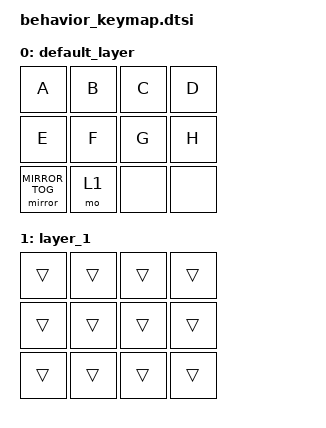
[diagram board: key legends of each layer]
#include <dt-bindings/zmk/keys.h>
#include <dt-bindings/zmk/mirror.h>
#include <behaviors.dtsi>
#include <dt-bindings/zmk/kscan_mock.h>

/*
 * Fork: mirror mode `combo-pairs` (PATCH_MIRROR_MODE.md §3.4).
 *
 *  pos  0  1  2  3     A B C D            map: rows 0-1 reflected (0<->3, 1<->2, 4<->7, 5<->6)
 *       4  5  6  7     E F G H                 row 2 maps to itself
 *       8  9 10 11     mirror TOG, &mo 1 (layer 1 not listed in the mirror)
 *
 * Combos: {0,1} -> [ (opener), {1,2} -> ] (closer), paired; {0,1,2} -> Z, not paired. While
 * mirrored, the right-hand twins of [ give ], and the other way round.
 */
&kscan {
    rows = <3>;
    columns = <4>;
};

/ {
    behaviors {
        mirror: mirror {
            compatible = "zmk,behavior-mirror";
            #binding-cells = <1>;
            mirror-positions = <3 2 1 0  7 6 5 4  8 9 10 11>;
            base {
                layers = <0>;
                combo-pairs = <0 1 MIRROR_WITH 1 2>;
            };
        };
    };

    combos {
        compatible = "zmk,combos";
        combo_open {
            timeout-ms = <50>;
            key-positions = <0 1>;
            bindings = <&kp LBKT>;
        };
        combo_close {
            timeout-ms = <50>;
            key-positions = <1 2>;
            bindings = <&kp RBKT>;
        };
        combo_three {
            timeout-ms = <50>;
            key-positions = <0 1 2>;
            bindings = <&kp Z>;
        };
    };

    keymap {
        compatible = "zmk,keymap";

        default_layer {
            bindings = <
                &kp A              &kp B  &kp C  &kp D
                &kp E              &kp F  &kp G  &kp H
                &mirror MIRROR_TOG &mo 1  &none  &none>;
        };

        layer_1 {
            bindings = <
                &trans &trans &trans &trans
                &trans &trans &trans &trans
                &trans &trans &trans &trans>;
        };
    };
};
